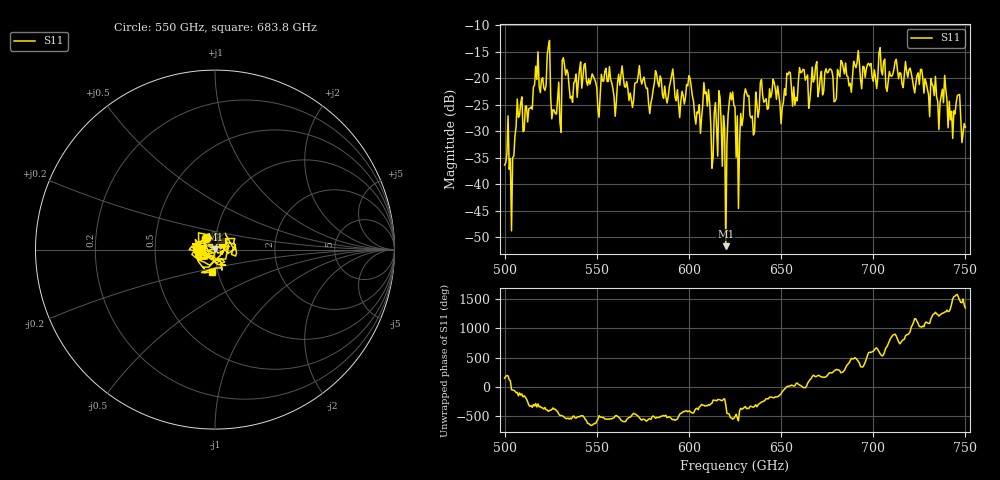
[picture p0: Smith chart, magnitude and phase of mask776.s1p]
!Created with skrf (http://scikit-rf.org).
# GHz S MA R 50.0
!freq magS11 angS11
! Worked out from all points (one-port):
!   401 points, 500 GHz to 750 GHz, reference 50 ohm
!   lowest |S11| = -51.7 dB at 620 GHz (marker M1), VSWR 1.01, Z = 50.2 + j0.201 ohm
!   |S11| at or under -10 dB: start of sweep to end of sweep
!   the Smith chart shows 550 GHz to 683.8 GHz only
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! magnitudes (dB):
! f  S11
! 500 GHz  -36.4
! 503.8 GHz  -48.8
! 508.1 GHz  -26.9
! 513.8 GHz  -25.7
! 516.9 GHz  -17.7
! 523.8 GHz  -14.0
! 526.9 GHz  -26.0
! 531.2 GHz  -16.6
! 532.5 GHz  -17.5
! 562.5 GHz  -21.3
! 593.8 GHz  -22.2
! 600 GHz  -19.5
! 605 GHz  -26.6
! 609.4 GHz  -22.6
! 612.5 GHz  -37.0
! 617.5 GHz  -28.4
! 618.8 GHz  -27.0
! 620 GHz  -51.7
! 622.5 GHz  -22.7
! 625 GHz  -25.4
! 626.9 GHz  -44.6
! 631.2 GHz  -22.7
! 634.4 GHz  -27.1
! 640 GHz  -23.2
! 656.2 GHz  -25.3
! 687.5 GHz  -20.9
! 718.8 GHz  -19.8
! 750 GHz  -29.3
